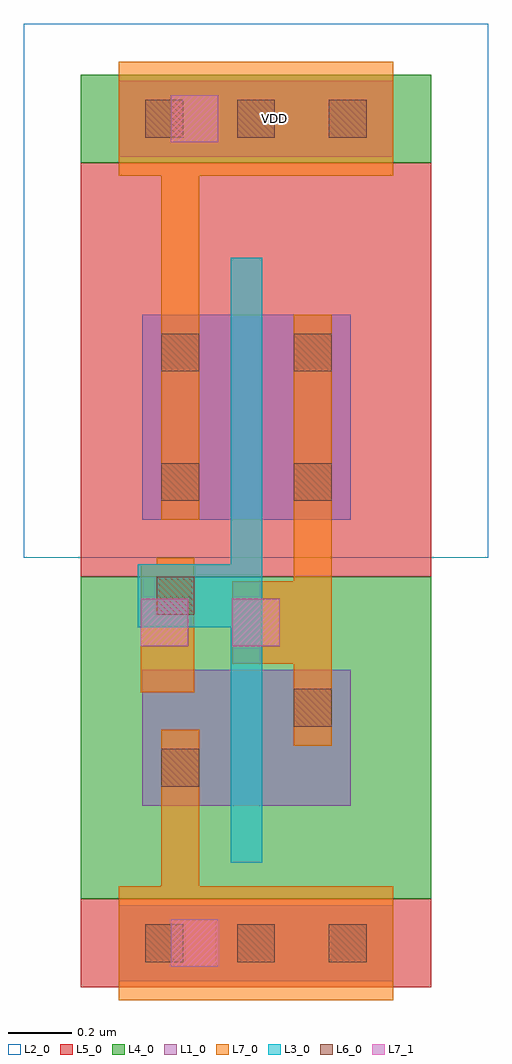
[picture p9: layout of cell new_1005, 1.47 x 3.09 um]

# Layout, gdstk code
import gdstk
lib = gdstk.Library(unit=1e-6, precision=1e-09)
def R(c, l, rs):  # rectangles x0, y0, x1, y1
    for r in rs: c.add(gdstk.rectangle(r[:2], r[2:], *l))
def A(c, l, x, y, w, h, nx, ny, dx, dy):  # array of equal rectangles
    R(c, l, [(x+i*dx, y+j*dy, x+i*dx+w, y+j*dy+h) for i in range(nx) for j in range(ny)])
L1_0 = (1, 0)
L2_0 = (2, 0)
L3_0 = (3, 0)
L4_0 = (4, 0)
L5_0 = (5, 0)
L6_0 = (6, 0)
L7_0 = (7, 0)
L7_1 = (7, 1)

invx1 = lib.new_cell('INVX1')
R(invx1, L1_0, [(0,-0.12,0.87,0.12), (0.075,0.435,0.735,0.865), (0.075,1.34,0.735,1.99), (0,2.49,0.87,2.73)])
R(invx1, L2_0, [(-0.3,1.22,1.17,2.91)])
R(invx1, L3_0, [(0.355,0.255,0.455,1), (0.06,1,0.455,1.2), (0.355,1.2,0.455,2.17)])
R(invx1, L4_0, [(-0.12,0.14,0.99,1.16), (-0.12,2.47,0.99,2.75)])
R(invx1, L5_0, [(-0.12,-0.14,0.99,0.14), (-0.12,1.16,0.99,2.47)])
A(invx1, L6_0, 0.085, -0.06, 0.12, 0.12, 3, 2, 0.29, 2.61)
R(invx1, L6_0, [(0.135,0.495,0.255,0.615), (0.555,0.685,0.675,0.805), (0.12,1.04,0.24,1.16), (0.135,1.4,0.255,1.52), (0.555,1.4,0.675,1.52), (0.135,1.81,0.255,1.93), (0.555,1.81,0.675,1.93)])
R(invx1, L7_0, [(0,-0.18,0.87,0.18), (0.135,0.18,0.255,0.675), (0.555,0.625,0.675,0.885), (0.07,0.795,0.24,1.2), (0.36,0.885,0.675,1.145), (0.555,1.145,0.675,1.99), (0.12,1.2,0.24,1.22), (0.135,1.34,0.255,2.43), (0,2.43,0.87,2.79)])
R(invx1, L7_1, [(0.165,-0.075,0.315,0.075), (0.07,0.94,0.22,1.09), (0.36,0.94,0.51,1.09), (0.165,2.535,0.315,2.685)])

new_1005 = lib.new_cell('new_1005')
R(new_1005, L1_0, [(-0.425,-0.245,0.445,-0.005), (-0.35,0.31,0.31,0.74), (-0.35,1.215,0.31,1.865), (-0.425,2.365,0.445,2.605)])
R(new_1005, L2_0, [(-0.725,1.095,0.745,2.785)])
R(new_1005, L3_0, [(-0.07,0.13,0.03,2.045), (-0.365,0.875,0.03,1.075)])
R(new_1005, L4_0, [(-0.545,0.015,0.565,1.035), (-0.545,2.345,0.565,2.625)])
R(new_1005, L5_0, [(-0.545,-0.265,0.565,0.015), (-0.545,1.035,0.565,2.345)])
A(new_1005, L6_0, -0.34, -0.185, 0.12, 0.12, 3, 2, 0.29, 2.61)
R(new_1005, L6_0, [(-0.29,0.37,-0.17,0.49), (0.13,0.56,0.25,0.68), (-0.305,0.915,-0.185,1.035), (-0.29,1.275,-0.17,1.395), (0.13,1.275,0.25,1.395), (-0.29,1.685,-0.17,1.805), (0.13,1.685,0.25,1.805)])
R(new_1005, L7_0, [(-0.425,-0.305,0.445,0.055), (-0.29,0.055,-0.17,0.55), (0.13,0.5,0.25,1.865), (-0.355,0.67,-0.185,1.075), (-0.065,0.76,0.25,1.02), (-0.305,1.075,-0.185,1.095), (-0.29,1.215,-0.17,2.305), (-0.425,2.305,0.445,2.665)])
new_1005.add(gdstk.Reference(invx1, (-0.425,-0.125)))
new_1005.add(gdstk.Label('VDD', (0.07,2.485), layer=7, texttype=251))

lib.write_gds('new_1005.gds')
